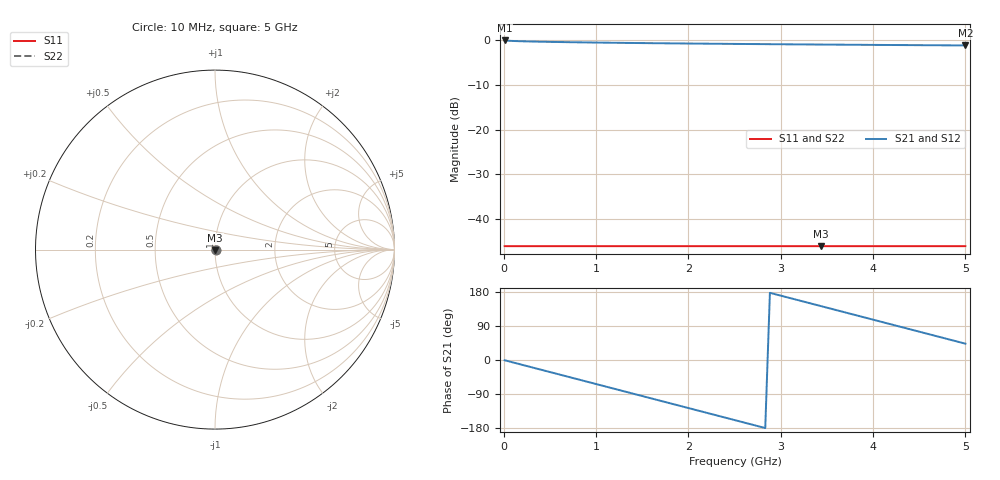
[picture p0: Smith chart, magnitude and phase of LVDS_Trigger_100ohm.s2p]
! Touchstone S2P File
! LightRail AI LR-P3A Rev 6.3 — QPA
! LVDS trigger channel, 100ohm diff, 30mm on Megtron-7
! Generated by generate_sparams.py
# GHz S RI R 50.0
! freq  Re(S11)  Im(S11)  Re(S21)  Im(S21)  Re(S12)  Im(S12)  Re(S22)  Im(S22)
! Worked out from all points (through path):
!   100 points, 10 MHz to 5 GHz, reference 50 ohm
!   highest |S21| = -0.05 dB at 10 MHz (marker M1); lowest = -1.2 dB at 5 GHz (marker M2)
!   group delay of S21, straight-line fit = 176 ps
!   lowest |S11| = -46.0 dB at 3.438 GHz (marker M3), VSWR 1.01, Z = 50.1 - j0.486 ohm
!   |S11| at or under -10 dB: start of sweep to end of sweep
!   |S22| runs from -46.0 to -46.0 dB; largest |S21 - S12| = 0
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0.01  0.005 -0.000111  0.994 -0.011  0.994 -0.011  0.005 -0.000111
0.4132  0.00305 -0.00396  0.8634 -0.4247  0.8634 -0.4247  0.00305 -0.00396
0.6148  0.00104 -0.00489  0.7417 -0.6  0.7417 -0.6  0.00104 -0.00489
0.8669  -0.0017 -0.0047  0.5431 -0.7741  0.5431 -0.7741  -0.0017 -0.0047
1.1189  -0.00393 -0.00309  0.3068 -0.8869  0.3068 -0.8869  -0.00393 -0.00309
1.3205  -0.00488 -0.00109  0.1024 -0.9277  0.1024 -0.9277  -0.00488 -0.00109
1.5221  -0.00487 0.00112  -0.1048 -0.9227  -0.1048 -0.9227  -0.00487 0.00112
1.7237  -0.00391 0.00311  -0.3048 -0.8725  -0.3048 -0.8725  -0.00391 0.00311
1.9254  -0.00219 0.0045  -0.4881 -0.78  -0.4881 -0.78  -0.00219 0.0045
2.1774  0.000525 0.00497  -0.6803 -0.6123  -0.6803 -0.6123  0.000525 0.00497
2.5302  0.00387 0.00316  -0.8562 -0.3053  -0.8562 -0.3053  0.00387 0.00316
2.7318  0.00486 0.00118  -0.8991 -0.1079  -0.8991 -0.1079  0.00486 0.00118
2.9334  0.00489 -0.00103  -0.8975 0.0933  -0.8975 0.0933  0.00489 -0.00103
3.1351  0.00397 -0.00304  -0.8517 0.2885  -0.8517 0.2885  0.00397 -0.00304
3.3367  0.00227 -0.00445  -0.7642 0.4682  -0.7642 0.4682  0.00227 -0.00445
3.4375  0.00123 -0.00485  -0.7062 0.5494  -0.7062 0.5494  0.00123 -0.00485
3.8407  -0.003 -0.004  -0.3975 0.7952  -0.3975 0.7952  -0.003 -0.004
4.1935  -0.00495 -0.000729  -0.0647 0.882  -0.0647 0.882  -0.00495 -0.000729
4.3952  -0.00478 0.00148  0.1316 0.8719  0.1316 0.8719  -0.00478 0.00148
4.5968  -0.00367 0.00339  0.3203 0.8189  0.3203 0.8189  -0.00367 0.00339
4.7984  -0.00185 0.00464  0.4921 0.7257  0.4921 0.7257  -0.00185 0.00464
5  0.000335 0.00499  0.6387 0.5972  0.6387 0.5972  0.000335 0.00499
